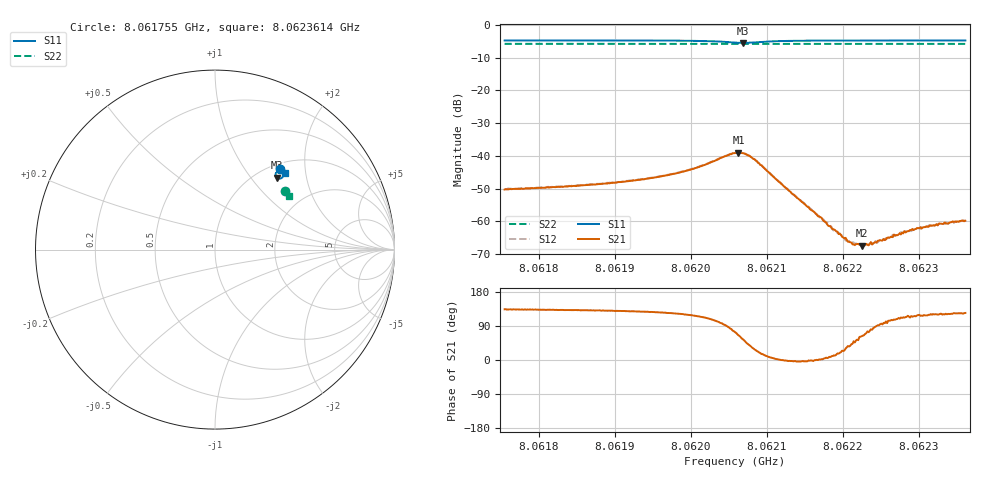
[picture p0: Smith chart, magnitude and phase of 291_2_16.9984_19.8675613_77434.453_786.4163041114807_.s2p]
#  HZ  S  RI  R  50.00
! Rohde & Schwarz Vector Network Analyzer
! Rohde-Schwarz,ZNB20-2Port,1311601062101988,3.16
! Created: UTC 3/20/2024, 11:05:06 PM
! freq[Hz]  re:S11  im:S11  re:S21  im:S21  re:S12  im:S12  re:S22  im:S22
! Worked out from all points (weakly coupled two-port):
!   401 points, 8.061755 GHz to 8.0623614 GHz, reference 50 ohm
!   highest |S21| = -39.02 dB at 8.0620628 GHz (marker M1); lowest = -67.5 dB at 8.062225 GHz (marker M2)
!   lowest |S11| = -5.5 dB at 8.0620688 GHz (marker M3), VSWR 3.24, Z = 61.1 + j67.9 ohm
!   |S11| at or under -10 dB: nowhere
!   |S22| runs from -5.9 to -5.8 dB; largest |S21 - S12| = 0.0009
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8.06175498e9  0.3614 0.4483  -0.00211 0.0022  -0.00199 0.00237  0.3925 0.3283
8.06185656e9  0.3686 0.442  -0.00233 0.00265  -0.0022 0.00281  0.3963 0.3233
8.06190963e9  0.3727 0.4377  -0.00253 0.0031  -0.00235 0.00326  0.3983 0.3208
8.06195814e9  0.3771 0.4324  -0.00277 0.00388  -0.00258 0.00408  0.4002 0.318
8.06200514e9  0.3811 0.4222  -0.00292 0.00574  -0.00259 0.00597  0.4018 0.3154
8.06205821e9  0.3597 0.3951  0.00314 0.0105  0.00379 0.0104  0.4023 0.3119
8.06206276e9  0.3531 0.396  0.00467 0.0102  0.00524 0.00999  0.4022 0.3118
8.06206882e9  0.3448 0.4006  0.00636 0.00887  0.00698 0.00839  0.4021 0.3119
8.06207489e9  0.3392 0.408  0.0075 0.00689  0.00796 0.00654  0.4023 0.3121
8.06208702e9  0.3384 0.4239  0.00753 0.00333  0.00773 0.00284  0.4028 0.3123
8.06215979e9  0.3673 0.4385  0.00146 -3.7e-05  0.00146 -0.000117  0.407 0.309
8.06218253e9  0.3713 0.4371  0.000832 0.000122  0.000844 7.04e-05  0.4077 0.3078
8.06220376e9  0.3741 0.4357  0.000482 0.000281  0.000459 0.000222  0.4085 0.3065
8.06221286e9  0.3754 0.435  0.000326 0.000302  0.000367 0.000299  0.409 0.3062
8.06222499e9  0.3767 0.4344  0.000192 0.000376  0.000219 0.000361  0.4094 0.3056
8.06222953e9  0.3771 0.4339  0.000157 0.000401  0.000195 0.000388  0.4095 0.3053
8.06224318e9  0.3785 0.4332  1.2e-05 0.000479  5.38e-05 0.000497  0.4101 0.3047
8.06226137e9  0.38 0.432  -0.000132 0.000543  -7.95e-05 0.000549  0.4108 0.3036
8.06227805e9  0.3816 0.431  -0.000238 0.000625  -0.000158 0.000652  0.4114 0.3029
8.06229928e9  0.3833 0.4298  -0.000373 0.000692  -0.000318 0.000718  0.4121 0.3019
8.06232657e9  0.3853 0.4283  -0.000463 0.000791  -0.000427 0.000816  0.4129 0.3004
8.06236144e9  0.3876 0.4262  -0.000571 0.000843  -0.000504 0.000905  0.4143 0.2987
